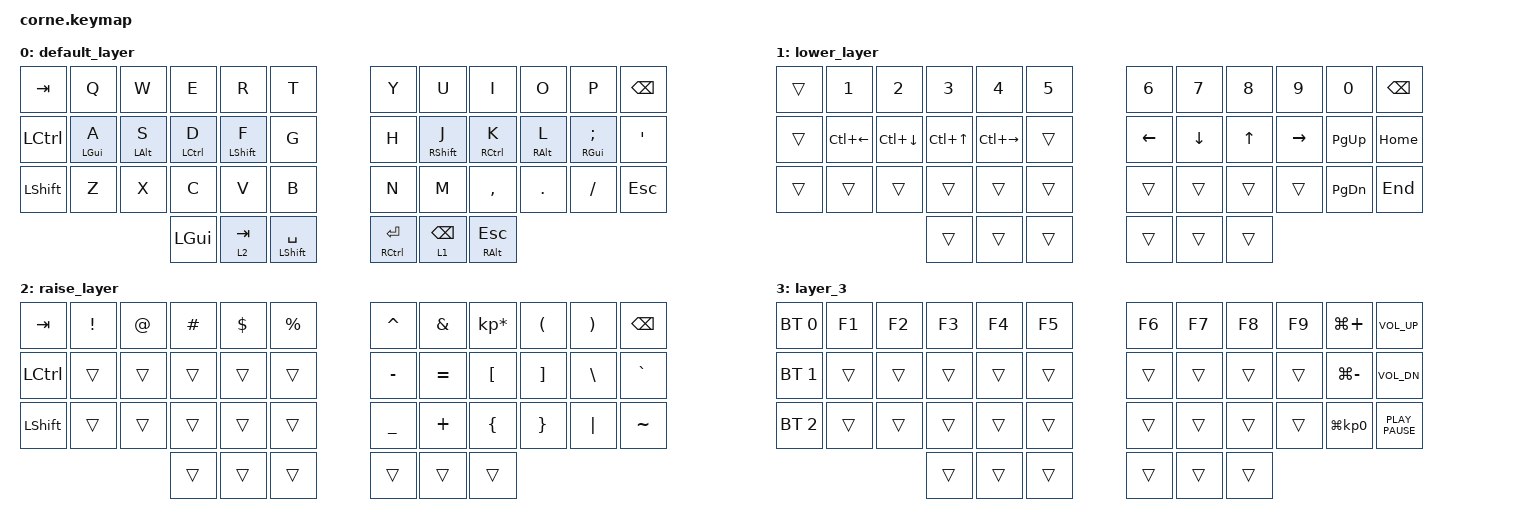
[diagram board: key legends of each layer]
/*
 * Copyright (c) 2020 The ZMK Contributors
 *
 * SPDX-License-Identifier: MIT
 */

#include <behaviors.dtsi>
#include <dt-bindings/zmk/bt.h>
#include <dt-bindings/zmk/keys.h>

/ {
    behaviors {
        hml: hml {
            compatible = "zmk,behavior-hold-tap";
            label = "HML";
            bindings = <&kp>, <&kp>;

            #binding-cells = <2>;
            tapping-term-ms = <200>;
            hold-trigger-key-positions = <6 7 8 9 10 11 18 19 20 21 22 23 30 31 32 33 34 35>;
            flavor = "tap-preferred";
        };

        hmr: hmr {
            compatible = "zmk,behavior-hold-tap";
            label = "HMR";
            bindings = <&kp>, <&kp>;

            #binding-cells = <2>;
            tapping-term-ms = <200>;
            hold-trigger-key-positions = <0 12 24 25 13 1 2 14 27 26 28 29 17 16 15 3 4 5>;
            flavor = "tap-preferred";
        };

        thumblayer: thumblayer {
            compatible = "zmk,behavior-hold-tap";
            label = "THUMBLAYER";
            bindings = <&mo>, <&kp>;

            #binding-cells = <2>;
            tapping-term-ms = <200>;
            flavor = "hold-preferred";
        };

        thumbmod: thumbmod {
            compatible = "zmk,behavior-hold-tap";
            label = "THUMBMOD";
            bindings = <&kp>, <&kp>;

            #binding-cells = <2>;
            tapping-term-ms = <200>;
        };

        thumbtap: thumbtap {
            compatible = "zmk,behavior-hold-tap";
            label = "THUMBTAP";
            bindings = <&kp>, <&kp>;

            #binding-cells = <2>;
            tapping-term-ms = <200>;
            flavor = "balanced";
        };
    };

    combos {
        compatible = "zmk,combos";

        btclear {
            bindings = <&bt BT_CLR>;
            key-positions = <5 6>;
            layers = <3>;
        };
    };

    keymap {
        compatible = "zmk,keymap";

        default_layer {
            // -----------------------------------------------------------------------------------------
            // |  TAB |  Q  |  W  |  E  |  R  |  T  |   |  Y  |  U   |  I  |  O  |  P  | BKSP |
            // | CTRL |  A  |  S  |  D  |  F  |  G  |   |  H  |  J   |  K  |  L  |  ;  |  '   |
            // | SHFT |  Z  |  X  |  C  |  V  |  B  |   |  N  |  M   |  ,  |  .  |  /  | ESC  |
            //                    | GUI | LWR | SPC |   | ENT | RSE  | ALT |

            bindings = <
&kp TAB    &kp Q            &kp W            &kp E         &kp R              &kp T                         &kp Y                  &kp U                    &kp I                       &kp O             &kp P                     &kp BSPC
&kp LCTRL  &hml LEFT_GUI A  &hml LEFT_ALT S  &hml LCTRL D  &hml LEFT_SHIFT F  &kp G                         &kp H                  &hmr RIGHT_SHIFT J       &hmr RCTRL K                &hmr RIGHT_ALT L  &hmr RIGHT_GUI SEMICOLON  &kp SQT
&kp LSHFT  &kp Z            &kp X            &kp C         &kp V              &kp B                         &kp N                  &kp M                    &kp COMMA                   &kp DOT           &kp FSLH                  &kp ESC
                                             &kp LGUI      &thumblayer 2 TAB  &thumbtap LEFT_SHIFT SPACE    &thumbtap RCTRL ENTER  &thumblayer 1 BACKSPACE  &thumbmod RIGHT_ALT ESCAPE
            >;
        };

        lower_layer {
            // -----------------------------------------------------------------------------------------
            // |  TAB |  1  |  2  |  3  |  4  |  5  |   |  6  |  7  |  8  |  9  |  0  | BKSP |
            // | BTCLR| BT1 | BT2 | BT3 | BT4 | BT5 |   | LFT | DWN |  UP | RGT |     |      |
            // | SHFT |     |     |     |     |     |   |     |     |     |     |     |      |
            //                    | GUI |     | SPC |   | ENT |     | ALT |

            bindings = <
&trans  &kp N1        &kp N2        &kp N3      &kp N4         &kp N5    &kp N6    &kp N7    &kp N8  &kp N9     &kp N0         &kp BSPC
&trans  &kp LC(LEFT)  &kp LC(DOWN)  &kp LC(UP)  &kp LC(RIGHT)  &trans    &kp LEFT  &kp DOWN  &kp UP  &kp RIGHT  &kp PAGE_UP    &kp HOME
&trans  &trans        &trans        &trans      &trans         &trans    &trans    &trans    &trans  &trans     &kp PAGE_DOWN  &kp END
                                    &trans      &trans         &trans    &trans    &trans    &trans
            >;
        };

        raise_layer {
            // -----------------------------------------------------------------------------------------
            // |  TAB |  !  |  @  |  #  |  $  |  %  |   |  ^  |  &  |  *  |  (  |  )  | BKSP |
            // | CTRL |     |     |     |     |     |   |  -  |  =  |  [  |  ]  |  \  |  `   |
            // | SHFT |     |     |     |     |     |   |  _  |  +  |  {  |  }  | "|" |  ~   |
            //                    | GUI |     | SPC |   | ENT |     | ALT |

            bindings = <
&kp TAB    &kp EXCL  &kp AT  &kp HASH  &kp DLLR  &kp PRCNT    &kp CARET  &kp AMPS   &kp KP_MULTIPLY  &kp LPAR  &kp RPAR  &kp BSPC
&kp LCTRL  &trans    &trans  &trans    &trans    &trans       &kp MINUS  &kp EQUAL  &kp LBKT         &kp RBKT  &kp BSLH  &kp GRAVE
&kp LSHFT  &trans    &trans  &trans    &trans    &trans       &kp UNDER  &kp PLUS   &kp LBRC         &kp RBRC  &kp PIPE  &kp TILDE
                             &trans    &trans    &trans       &trans     &trans     &trans
            >;
        };

        layer_3 {
            bindings = <
&bt BT_SEL 0  &kp F1  &kp F2  &kp F3  &kp F4  &kp F5    &kp F6  &kp F7  &kp F8  &kp F9  &kp LG(PLUS)         &kp K_VOLUME_UP
&bt BT_SEL 1  &trans  &trans  &trans  &trans  &trans    &trans  &trans  &trans  &trans  &kp LG(MINUS)        &kp K_VOL_DN
&bt BT_SEL 2  &trans  &trans  &trans  &trans  &trans    &trans  &trans  &trans  &trans  &kp LG(KP_NUMBER_0)  &kp K_PLAY_PAUSE
                              &trans  &trans  &trans    &trans  &trans  &trans
            >;
        };
    };

    conditional_layers {
        compatible = "zmk,conditional-layers";

        both {
            if-layers = <1 2>;
            then-layer = <3>;
        };
    };
};
